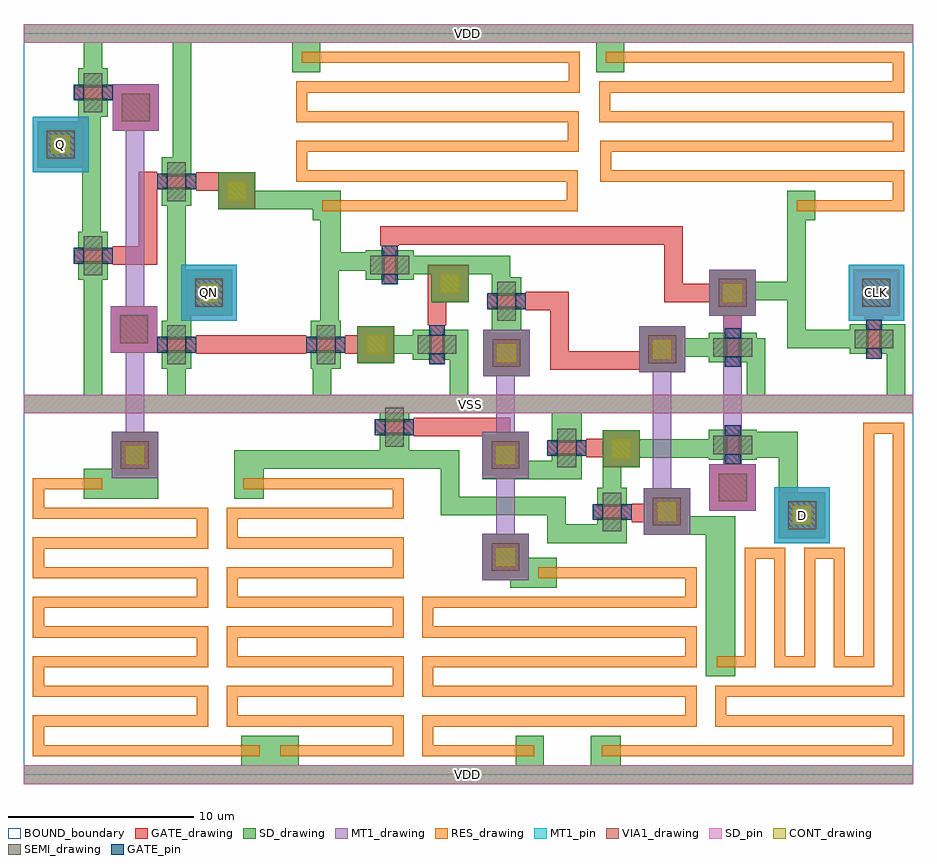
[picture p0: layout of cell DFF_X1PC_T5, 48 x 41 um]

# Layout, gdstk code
from math import pi, radians
import gdstk
lib = gdstk.Library(unit=1e-6, precision=1e-09)
def R(c, l, rs):  # rectangles x0, y0, x1, y1
    for r in rs: c.add(gdstk.rectangle(r[:2], r[2:], *l))
def A(c, l, x, y, w, h, nx, ny, dx, dy):  # array of equal rectangles
    R(c, l, [(x+i*dx, y+j*dy, x+i*dx+w, y+j*dy+h) for i in range(nx) for j in range(ny)])
def P(c, l, *ps):  # polygons
    for p in ps: c.add(gdstk.Polygon(p, *l))
RES_drawing = (1, 0)
SEMI_drawing = (3, 0)
SD_drawing = (10, 0)
SD_pin = (10, 3)
GATE_drawing = (11, 0)
GATE_pin = (11, 3)
MT1_drawing = (20, 0)
MT1_pin = (20, 3)
CONT_drawing = (30, 0)
VIA1_drawing = (41, 0)
BOUND_boundary = (150, 5)

nch_cdns_772544877790 = lib.new_cell('nch_CDNS_772544877790')
R(nch_cdns_772544877790, SEMI_drawing, [(-1.05,-0.5,1.05,0.5)])
R(nch_cdns_772544877790, SD_drawing, [(-1.3,-0.8,-0.3,0.8), (0.3,-0.8,1.3,0.8)])
R(nch_cdns_772544877790, GATE_drawing, [(-0.425,-1.05,0.425,1.05)])
R(nch_cdns_772544877790, GATE_pin, [(-0.425,-1.05,0.425,-0.5), (-0.425,0.5,0.425,1.05)])

sd_gate_cdns_77254487779 = lib.new_cell('SD_GATE_CDNS_772544877790')
R(sd_gate_cdns_77254487779, SD_drawing, [(-1.25,-1.25,1.25,1.25)])
R(sd_gate_cdns_77254487779, GATE_drawing, [(-1.25,-1.25,1.25,1.25)])
R(sd_gate_cdns_77254487779, CONT_drawing, [(-0.5,-0.5,0.5,0.5)])

gate_mt1_cdns_7725448777 = lib.new_cell('GATE_MT1_CDNS_772544877791')
R(gate_mt1_cdns_7725448777, GATE_drawing, [(-1.25,-1.25,1.25,1.25)])
R(gate_mt1_cdns_7725448777, MT1_drawing, [(-1.5,-1.5,1.5,1.5)])
R(gate_mt1_cdns_7725448777, VIA1_drawing, [(-0.75,-0.75,0.75,0.75)])

c_gate_mt1_cdns_7725448777 = lib.new_cell('GATE_MT1_CDNS_772544877792')
R(c_gate_mt1_cdns_7725448777, GATE_drawing, [(-1.25,-1.25,1.25,1.25)])
R(c_gate_mt1_cdns_7725448777, MT1_drawing, [(-1.25,-1.25,1.25,1.25)])
R(c_gate_mt1_cdns_7725448777, VIA1_drawing, [(-0.75,-0.75,0.75,0.75)])

c_sd_gate_cdns_77254487779 = lib.new_cell('SD_GATE_CDNS_772544877793')
R(c_sd_gate_cdns_77254487779, SD_drawing, [(-1,-1,1,1)])
R(c_sd_gate_cdns_77254487779, GATE_drawing, [(-1,-1,1,1)])
R(c_sd_gate_cdns_77254487779, CONT_drawing, [(-0.5,-0.5,0.5,0.5)])

dff_x1pc_t5 = lib.new_cell('DFF_X1PC_T5')
A(dff_x1pc_t5, SD_drawing, 0, -0.5, 48, 1, 1, 3, 0, 20)
R(dff_x1pc_t5, SD_drawing, [(11.75,0.5,13.35,2.1), (13.35,0.5,14.85,2.1), (26.55,0.5,28.05,2.1), (30.6,0.5,32.2,2.1), (3.25,14.9,7.25,16.5), (11.35,14.9,12.95,16.5), (31.25,15.075,32.25,17.375), (24.75,15.95,30.1,16.95), (31.25,17.1,36.95,18.1), (28.5,18.925,30.1,19.5), (3.25,20.5,4.25,26.7), (7.75,20.5,8.75,21.9), (15.6,20.5,16.6,21.9), (46.55,20.5,47.55,24.3), (25.25,23.9,26.85,24.35), (15.6,29.9,17.1,31.5), (41.2,29.9,42.7,31.5), (8.05,33.3,9.05,39.5), (14.5,37.9,16,39.5), (30.9,37.9,32.4,39.5), (3.25,38.1,4.25,39.5)])
P(dff_x1pc_t5, SD_drawing, [(41.75,15.25),(41.75,18.5),(39.55,18.5),(39.55,17.1),(40.75,17.1),(40.75,15.25)],
  [(32.55,13.5),(29.25,13.5),(29.25,15),(23.5,15),(23.5,17.5),(11.35,17.5),(11.35,16.5),(22.5,16.5),(22.5,14),(28.25,14),(28.25,12.5),(32.55,12.5)],
  [(4.15,35.5),(2.95,35.5),(2.95,35.25),(3.15,35.25),(3.15,29.3),(4.15,29.3)],
  [(44.575,24),(42.2,24),(42.2,26.6),(38.3,26.6),(38.3,25.6),(41.2,25.6),(41.2,23),(44.575,23)],
  [(9.05,24.75),(8.75,24.75),(8.75,30.7),(7.75,30.7),(7.75,24.5),(9.05,24.5)],
  [(38.4,13.95),(35.95,13.95),(35.95,14.35),(34.95,14.35),(34.95,12.95),(36.8,12.95),(36.8,5.3),(38.4,5.3)],
  [(40,23.55),(39.55,23.55),(39.55,22.35),(39,22.35),(39,20.25),(40,20.25)],
  [(18.45,28.2),(17.1,28.2),(17.1,31.5),(12.5,31.5),(12.5,30.5),(16,30.5),(16,24.5),(17,24.5),(17,27.2),(18.45,27.2)],
  [(28.75,11.7),(27.25,11.7),(27.25,12.25),(26,12.25),(26,11.25),(26.25,11.25),(26.25,10.1),(28.75,10.1)])
A(dff_x1pc_t5, SD_pin, 0, -0.5, 48, 1, 1, 3, 0, 20)
P(dff_x1pc_t5, GATE_drawing, [(26.25,19.25),(21.05,19.25),(21.05,18.25),(25.25,18.25),(25.25,17.25),(26.25,17.25)],
  [(4.8,27.5),(7.2,27.5),(7.2,32.525),(6.2,32.525),(6.2,28.5),(4.8,28.5)],
  [(38.75,24.2),(37.75,24.2),(37.75,24.1),(37.875,24.1),(37.875,24.05),(38.625,24.05),(38.625,24.1),(38.75,24.1)],
  [(27.2,25.05),(27.2,26.05),(27.1,26.05),(27.1,25.925),(27.05,25.925),(27.05,25.175),(27.1,25.175),(27.1,25.05)],
  [(32.9,13.625),(32.9,14.625),(32.8,14.625),(32.8,14.55),(32.75,14.55),(32.75,13.8),(32.8,13.8),(32.8,13.625)],
  [(9.4,31.5),(9.4,32.5),(9.3,32.5),(9.3,32.375),(9.25,32.375),(9.25,31.625),(9.3,31.625),(9.3,31.5)],
  [(37.725,16.65),(38.725,16.65),(38.725,16.75),(38.625,16.75),(38.625,16.8),(37.875,16.8),(37.875,16.75),(37.725,16.75)],
  [(20.25,28.65),(19.25,28.65),(19.25,28.55),(19.375,28.55),(19.375,28.5),(20.125,28.5),(20.125,28.55),(20.25,28.55)],
  [(4.9,27.5),(4.9,28.5),(4.8,28.5),(4.8,28.375),(4.75,28.375),(4.75,27.625),(4.8,27.625),(4.8,27.5)],
  [(4.9,36.25),(4.9,37.25),(4.8,37.25),(4.8,37.175),(4.75,37.175),(4.75,36.425),(4.8,36.425),(4.8,36.25)],
  [(46.375,24.65),(45.375,24.65),(45.375,24.55),(45.5,24.55),(45.5,24.5),(46.25,24.5),(46.25,24.55),(46.375,24.55)],
  [(15.15,23.7),(15.15,22.7),(15.25,22.7),(15.25,22.825),(15.3,22.825),(15.3,23.575),(15.25,23.575),(15.25,23.7)],
  [(7.1,32.525),(7.1,31.525),(7.2,31.525),(7.2,31.625),(7.25,31.625),(7.25,32.375),(7.2,32.375),(7.2,32.525)],
  [(7.1,23.7),(7.1,22.775),(7.2,22.775),(7.2,22.825),(7.25,22.825),(7.25,23.575),(7.2,23.575),(7.2,23.7)],
  [(9.4,23.7),(9.4,22.7),(9.3,22.7),(9.3,22.825),(9.25,22.825),(9.25,23.575),(9.3,23.575),(9.3,23.7)],
  [(22.8,24.35),(21.8,24.35),(21.8,24.25),(21.925,24.25),(21.925,24.2),(22.675,24.2),(22.675,24.25),(22.8,24.25)],
  [(30.45,17.125),(30.45,18.125),(30.35,18.125),(30.35,18),(30.3,18),(30.3,17.25),(30.35,17.25),(30.35,17.125)],
  [(21.15,18.25),(21.15,19.25),(21.05,19.25),(21.05,19.125),(21,19.125),(21,18.375),(21.05,18.375),(21.05,18.25)],
  [(17.45,23.7),(17.45,22.7),(17.35,22.7),(17.35,22.825),(17.3,22.825),(17.3,23.575),(17.35,23.575),(17.35,23.7)])
R(dff_x1pc_t5, MT1_drawing, [(40.5,12.5,43.5,15.5), (40.5,12.5,43.5,15.5), (40.5,12.5,43.5,15.5), (40.5,12.5,43.5,15.5), (40.5,12.5,43.5,15.5), (8.5,24.5,11.5,27.5), (8.5,24.5,11.5,27.5), (8.5,24.5,11.5,27.5), (8.5,24.5,11.5,27.5), (8.5,24.5,11.5,27.5), (44.5,24.5,47.5,27.5), (44.5,24.5,47.5,27.5), (44.5,24.5,47.5,27.5), (44.5,24.5,47.5,27.5), (44.5,24.5,47.5,27.5), (0.5,32.5,3.5,35.5), (0.5,32.5,3.5,35.5), (0.5,32.5,3.5,35.5), (0.5,32.5,3.5,35.5), (0.5,32.5,3.5,35.5)])
R(dff_x1pc_t5, MT1_pin, [(40.5,12.5,43.5,15.5), (40.5,12.5,43.5,15.5), (40.5,12.5,43.5,15.5), (40.5,12.5,43.5,15.5), (40.5,12.5,43.5,15.5), (8.5,24.5,11.5,27.5), (8.5,24.5,11.5,27.5), (8.5,24.5,11.5,27.5), (8.5,24.5,11.5,27.5), (8.5,24.5,11.5,27.5), (44.5,24.5,47.5,27.5), (44.5,24.5,47.5,27.5), (44.5,24.5,47.5,27.5), (44.5,24.5,47.5,27.5), (44.5,24.5,47.5,27.5), (0.5,32.5,3.5,35.5), (0.5,32.5,3.5,35.5), (0.5,32.5,3.5,35.5), (0.5,32.5,3.5,35.5), (0.5,32.5,3.5,35.5)])
R(dff_x1pc_t5, BOUND_boundary, [(0,0,48,40)])
dff_x1pc_t5.add(gdstk.FlexPath([(18.8,23.2),(21,23.2)], 1, ends="flush", simple_path=True, layer=10, datatype=0))  # SD_drawing
dff_x1pc_t5.add(gdstk.FlexPath([(36.95,23.05),(35.7,23.05)], 1, ends="flush", simple_path=True, layer=10, datatype=0))  # SD_drawing
dff_x1pc_t5.add(gdstk.FlexPath([(25.75,26.425),(25.75,27.5),(21.05,27.5)], 1, ends="flush", simple_path=True, layer=10, datatype=0))  # SD_drawing
dff_x1pc_t5.add(gdstk.FlexPath([(23.475,24),(23.475,20.5)], 1, ends="flush", simple_path=True, layer=10, datatype=0))  # SD_drawing
dff_x1pc_t5.add(gdstk.FlexPath([(41.7,26.05),(41.7,30.2)], 1, ends="flush", simple_path=True, layer=10, datatype=0))  # SD_drawing
dff_x1pc_t5.add(gdstk.FlexPath([(31.2,1.3),(47.2,1.3),(47.2,2.9),(37.6,2.9),(37.6,4.5),(47.2,4.5),(47.2,18.7),(45.6,18.7),(45.6,6.1),(44,6.1),(44,11.95),(42.4,11.95),(42.4,6.1),(40.8,6.1),(40.8,11.95),(39.2,11.95),(39.2,6.1),(37.4,6.1)], 0.6, ends="flush", simple_path=True, layer=1, datatype=0))  # RES_drawing
dff_x1pc_t5.add(gdstk.FlexPath([(11.85,15.7),(20.2,15.7),(20.2,14.1),(11.25,14.1),(11.25,12.5),(20.2,12.5),(20.2,10.9),(11.25,10.9),(11.25,9.3),(20.2,9.3),(20.2,7.7),(11.25,7.7),(11.25,6.1),(20.2,6.1),(20.2,4.5),(11.25,4.5),(11.25,2.9),(20.2,2.9),(20.2,1.3),(13.85,1.3)], 0.6, ends="flush", simple_path=True, layer=1, datatype=0))  # RES_drawing
dff_x1pc_t5.add(gdstk.FlexPath([(16,38.7),(29.7,38.7),(29.7,37.1),(15,37.1),(15,35.5),(29.65,35.5),(29.65,33.9),(15,33.9),(15,32.3),(29.6,32.3),(29.6,30.7),(17.1,30.7)], 0.6, ends=(1, 1), simple_path=True, layer=1, datatype=0))  # RES_drawing
dff_x1pc_t5.add(gdstk.FlexPath([(32.4,38.7),(47.2,38.7),(47.2,37.1),(31.35,37.1),(31.35,35.5),(47.2,35.5),(47.2,33.9),(31.4,33.9),(31.4,32.3),(47.2,32.3),(47.2,30.7),(41.7,30.7)], 0.6, ends=(1, 0), simple_path=True, layer=1, datatype=0))  # RES_drawing
dff_x1pc_t5.add(gdstk.FlexPath([(28.75,10.9),(36,10.9),(36,9.3),(21.8,9.3),(21.8,7.7),(36,7.7),(36,6.1),(21.8,6.1),(21.8,4.5),(36,4.5),(36,2.9),(21.8,2.9),(21.8,1.3),(26.55,1.3)], 0.6, ends=(1, 1), simple_path=True, layer=1, datatype=0))  # RES_drawing
dff_x1pc_t5.add(gdstk.FlexPath([(12.75,1.3),(0.8,1.3),(0.8,2.9),(9.65,2.9),(9.65,4.5),(0.8,4.5),(0.8,6.1),(9.65,6.1),(9.65,7.7),(0.8,7.7),(0.8,9.3),(9.65,9.3),(9.65,10.9),(0.8,10.9),(0.8,12.5),(9.65,12.5),(9.65,14.1),(0.8,14.1),(0.8,15.7),(4.25,15.7)], 0.6, ends="flush", simple_path=True, layer=1, datatype=0))  # RES_drawing
dff_x1pc_t5.add(gdstk.FlexPath([(18.8,23.2),(17.35,23.2)], 1, ends="flush", simple_path=True, layer=11, datatype=0))  # GATE_drawing
dff_x1pc_t5.add(gdstk.FlexPath([(22.3,24.25),(22.3,27.5)], 1, ends="flush", simple_path=True, layer=11, datatype=0))  # GATE_drawing
dff_x1pc_t5.add(gdstk.FlexPath([(27.1,25.55),(28.9,25.55)], 1, ends=(0, 0.5), simple_path=True, layer=11, datatype=0))  # GATE_drawing
dff_x1pc_t5.add(gdstk.FlexPath([(28.9,22.35),(33.2,22.35)], 1, ends=(0.5, 0), simple_path=True, layer=11, datatype=0))  # GATE_drawing
dff_x1pc_t5.add(gdstk.FlexPath([(28.9,25.55),(28.9,22.35)], 1, ends="extended", simple_path=True, layer=11, datatype=0))  # GATE_drawing
dff_x1pc_t5.add(gdstk.FlexPath([(19.8,29.1),(35.05,29.1),(35.05,26),(38.25,26),(38.25,24.1)], 1, ends="flush", simple_path=True, layer=11, datatype=0))  # GATE_drawing
dff_x1pc_t5.add(gdstk.FlexPath([(19.75,29.1),(19.8,29.1)], 1, ends=(0.5, 0), simple_path=True, layer=11, datatype=0))  # GATE_drawing
dff_x1pc_t5.add(gdstk.FlexPath([(9.3,32),(10.5,32)], 1, ends="flush", simple_path=True, layer=11, datatype=0))  # GATE_drawing
dff_x1pc_t5.add(gdstk.FlexPath([(45.875,24.55),(45.875,24.75)], 1, ends="flush", simple_path=True, layer=11, datatype=0))  # GATE_drawing
dff_x1pc_t5.add(gdstk.FlexPath([(30.35,17.625),(31.25,17.625)], 1, ends="flush", simple_path=True, layer=11, datatype=0))  # GATE_drawing
dff_x1pc_t5.add(gdstk.FlexPath([(9.3,23.2),(15.25,23.2)], 1, ends="flush", simple_path=True, layer=11, datatype=0))  # GATE_drawing
dff_x1pc_t5.add(gdstk.FlexPath([(32.8,14.125),(33.5,14.125)], 1, ends="flush", simple_path=True, layer=11, datatype=0))  # GATE_drawing
dff_x1pc_t5.add(gdstk.FlexPath([(19.75,28.55),(19.75,29.1)], 1, ends=(0, 0.5), simple_path=True, layer=11, datatype=0))  # GATE_drawing
dff_x1pc_t5.add(gdstk.FlexPath([(38.25,26),(38.25,15.35)], 1, ends="flush", simple_path=True, layer=20, datatype=0))  # MT1_drawing
dff_x1pc_t5.add(gdstk.FlexPath([(34.45,22.95),(34.45,14)], 1, ends="flush", simple_path=True, layer=20, datatype=0))  # MT1_drawing
dff_x1pc_t5.add(gdstk.FlexPath([(26,11.75),(26,11)], 1, ends="flush", simple_path=True, layer=20, datatype=0))  # MT1_drawing
dff_x1pc_t5.add(gdstk.FlexPath([(26,17.25),(26,11.75)], 1, ends="flush", simple_path=True, layer=20, datatype=0))  # MT1_drawing
dff_x1pc_t5.add(gdstk.FlexPath([(26,22.75),(26,17.25)], 1, ends="flush", simple_path=True, layer=20, datatype=0))  # MT1_drawing
dff_x1pc_t5.add(gdstk.FlexPath([(6,36),(6,17.15)], 1, ends="flush", simple_path=True, layer=20, datatype=0))  # MT1_drawing
dff_x1pc_t5.add(gdstk.Reference(nch_cdns_772544877790, (26.05,25.55), rotation=3*pi/2, x_reflection=True))
dff_x1pc_t5.add(gdstk.Reference(nch_cdns_772544877790, (22.3,23.2), rotation=pi))
dff_x1pc_t5.add(gdstk.Reference(nch_cdns_772544877790, (16.3,23.2), rotation=pi/2))
dff_x1pc_t5.add(gdstk.Reference(nch_cdns_772544877790, (8.25,32), rotation=pi/2))
dff_x1pc_t5.add(gdstk.Reference(nch_cdns_772544877790, (8.25,23.2), rotation=pi/2))
dff_x1pc_t5.add(gdstk.Reference(nch_cdns_772544877790, (3.75,36.8), rotation=pi/2))
dff_x1pc_t5.add(gdstk.Reference(nch_cdns_772544877790, (3.75,28), rotation=pi/2))
dff_x1pc_t5.add(gdstk.Reference(nch_cdns_772544877790, (38.25,17.8)))
dff_x1pc_t5.add(gdstk.Reference(nch_cdns_772544877790, (20,18.75), rotation=3*pi/2))
dff_x1pc_t5.add(gdstk.Reference(nch_cdns_772544877790, (38.25,23.05), rotation=pi))
dff_x1pc_t5.add(gdstk.Reference(nch_cdns_772544877790, (19.75,27.5)))
dff_x1pc_t5.add(gdstk.Reference(nch_cdns_772544877790, (31.75,14.175), rotation=pi/2))
dff_x1pc_t5.add(gdstk.Reference(nch_cdns_772544877790, (45.875,23.5), rotation=pi, x_reflection=True))
dff_x1pc_t5.add(gdstk.Reference(nch_cdns_772544877790, (29.3,17.625), rotation=3*pi/2))
dff_x1pc_t5.add(gdstk.Reference(sd_gate_cdns_77254487779, (34.45,22.95)))
dff_x1pc_t5.add(gdstk.Reference(sd_gate_cdns_77254487779, (26.05,22.75)))
dff_x1pc_t5.add(gdstk.Reference(sd_gate_cdns_77254487779, (2,34)))
dff_x1pc_t5.add(gdstk.Reference(sd_gate_cdns_77254487779, (10,26)))
dff_x1pc_t5.add(gdstk.Reference(sd_gate_cdns_77254487779, (42,14)))
dff_x1pc_t5.add(gdstk.Reference(sd_gate_cdns_77254487779, (34.7,14.2)))
dff_x1pc_t5.add(gdstk.Reference(sd_gate_cdns_77254487779, (26,11.75)))
dff_x1pc_t5.add(gdstk.Reference(sd_gate_cdns_77254487779, (26,17.25)))
dff_x1pc_t5.add(gdstk.Reference(sd_gate_cdns_77254487779, (6,17.25)))
dff_x1pc_t5.add(gdstk.Reference(sd_gate_cdns_77254487779, (42,14)))
dff_x1pc_t5.add(gdstk.Reference(sd_gate_cdns_77254487779, (38.25,26)))
dff_x1pc_t5.add(gdstk.Reference(sd_gate_cdns_77254487779, (34.7,14.2)))
dff_x1pc_t5.add(gdstk.Reference(sd_gate_cdns_77254487779, (34.45,22.95)))
dff_x1pc_t5.add(gdstk.Reference(sd_gate_cdns_77254487779, (26.05,22.75)))
dff_x1pc_t5.add(gdstk.Reference(sd_gate_cdns_77254487779, (26,11.75)))
dff_x1pc_t5.add(gdstk.Reference(sd_gate_cdns_77254487779, (26,17.25)))
dff_x1pc_t5.add(gdstk.Reference(sd_gate_cdns_77254487779, (10,26)))
dff_x1pc_t5.add(gdstk.Reference(sd_gate_cdns_77254487779, (6,17.25)))
dff_x1pc_t5.add(gdstk.Reference(sd_gate_cdns_77254487779, (2,34)))
dff_x1pc_t5.add(gdstk.Reference(sd_gate_cdns_77254487779, (42,14)))
dff_x1pc_t5.add(gdstk.Reference(sd_gate_cdns_77254487779, (38.25,26)))
dff_x1pc_t5.add(gdstk.Reference(sd_gate_cdns_77254487779, (34.7,14.2)))
dff_x1pc_t5.add(gdstk.Reference(sd_gate_cdns_77254487779, (34.45,22.95)))
dff_x1pc_t5.add(gdstk.Reference(sd_gate_cdns_77254487779, (26.05,22.75)))
dff_x1pc_t5.add(gdstk.Reference(sd_gate_cdns_77254487779, (26,11.75)))
dff_x1pc_t5.add(gdstk.Reference(sd_gate_cdns_77254487779, (26,17.25)))
dff_x1pc_t5.add(gdstk.Reference(sd_gate_cdns_77254487779, (10,26)))
dff_x1pc_t5.add(gdstk.Reference(sd_gate_cdns_77254487779, (6,17.25)))
dff_x1pc_t5.add(gdstk.Reference(sd_gate_cdns_77254487779, (2,34)))
dff_x1pc_t5.add(gdstk.Reference(sd_gate_cdns_77254487779, (42,14)))
dff_x1pc_t5.add(gdstk.Reference(sd_gate_cdns_77254487779, (38.25,26)))
dff_x1pc_t5.add(gdstk.Reference(sd_gate_cdns_77254487779, (34.7,14.2)))
dff_x1pc_t5.add(gdstk.Reference(sd_gate_cdns_77254487779, (34.45,22.95)))
dff_x1pc_t5.add(gdstk.Reference(sd_gate_cdns_77254487779, (26.05,22.75)))
dff_x1pc_t5.add(gdstk.Reference(sd_gate_cdns_77254487779, (26,11.75)))
dff_x1pc_t5.add(gdstk.Reference(sd_gate_cdns_77254487779, (26,17.25)))
dff_x1pc_t5.add(gdstk.Reference(sd_gate_cdns_77254487779, (10,26)))
dff_x1pc_t5.add(gdstk.Reference(sd_gate_cdns_77254487779, (6,17.25)))
dff_x1pc_t5.add(gdstk.Reference(sd_gate_cdns_77254487779, (26.05,22.75)))
dff_x1pc_t5.add(gdstk.Reference(sd_gate_cdns_77254487779, (2,34)))
dff_x1pc_t5.add(gdstk.Reference(sd_gate_cdns_77254487779, (38.25,26)))
dff_x1pc_t5.add(gdstk.Reference(sd_gate_cdns_77254487779, (26,11.75)))
dff_x1pc_t5.add(gdstk.Reference(sd_gate_cdns_77254487779, (42,14)))
dff_x1pc_t5.add(gdstk.Reference(sd_gate_cdns_77254487779, (34.45,22.95)))
dff_x1pc_t5.add(gdstk.Reference(sd_gate_cdns_77254487779, (34.7,14.2)))
dff_x1pc_t5.add(gdstk.Reference(sd_gate_cdns_77254487779, (26,17.25)))
dff_x1pc_t5.add(gdstk.Reference(sd_gate_cdns_77254487779, (6,17.25)))
dff_x1pc_t5.add(gdstk.Reference(sd_gate_cdns_77254487779, (10,26)))
dff_x1pc_t5.add(gdstk.Reference(sd_gate_cdns_77254487779, (2,34)))
dff_x1pc_t5.add(gdstk.Reference(gate_mt1_cdns_7725448777, (2,34)))
dff_x1pc_t5.add(gdstk.Reference(gate_mt1_cdns_7725448777, (10,26)))
dff_x1pc_t5.add(gdstk.Reference(gate_mt1_cdns_7725448777, (42,14)))
dff_x1pc_t5.add(gdstk.Reference(gate_mt1_cdns_7725448777, (46,26)))
dff_x1pc_t5.add(gdstk.Reference(gate_mt1_cdns_7725448777, (46,26)))
dff_x1pc_t5.add(gdstk.Reference(gate_mt1_cdns_7725448777, (42,14)))
dff_x1pc_t5.add(gdstk.Reference(gate_mt1_cdns_7725448777, (10,26)))
dff_x1pc_t5.add(gdstk.Reference(gate_mt1_cdns_7725448777, (2,34)))
dff_x1pc_t5.add(gdstk.Reference(gate_mt1_cdns_7725448777, (46,26)))
dff_x1pc_t5.add(gdstk.Reference(gate_mt1_cdns_7725448777, (42,14)))
dff_x1pc_t5.add(gdstk.Reference(gate_mt1_cdns_7725448777, (10,26)))
dff_x1pc_t5.add(gdstk.Reference(gate_mt1_cdns_7725448777, (2,34)))
dff_x1pc_t5.add(gdstk.Reference(gate_mt1_cdns_7725448777, (46,26)))
dff_x1pc_t5.add(gdstk.Reference(gate_mt1_cdns_7725448777, (42,14)))
dff_x1pc_t5.add(gdstk.Reference(gate_mt1_cdns_7725448777, (10,26)))
dff_x1pc_t5.add(gdstk.Reference(gate_mt1_cdns_7725448777, (2,34)))
dff_x1pc_t5.add(gdstk.Reference(gate_mt1_cdns_7725448777, (2,34)))
dff_x1pc_t5.add(gdstk.Reference(gate_mt1_cdns_7725448777, (46,26)))
dff_x1pc_t5.add(gdstk.Reference(gate_mt1_cdns_7725448777, (42,14)))
dff_x1pc_t5.add(gdstk.Reference(gate_mt1_cdns_7725448777, (10,26)))
dff_x1pc_t5.add(gdstk.Reference(c_gate_mt1_cdns_7725448777, (34.45,22.95)))
dff_x1pc_t5.add(gdstk.Reference(c_gate_mt1_cdns_7725448777, (26.05,22.75)))
dff_x1pc_t5.add(gdstk.Reference(c_gate_mt1_cdns_7725448777, (6.05,36)))
dff_x1pc_t5.add(gdstk.Reference(c_gate_mt1_cdns_7725448777, (5.95,24.025)))
dff_x1pc_t5.add(gdstk.Reference(c_gate_mt1_cdns_7725448777, (38.25,15.5)))
dff_x1pc_t5.add(gdstk.Reference(c_gate_mt1_cdns_7725448777, (34.7,14.2)))
dff_x1pc_t5.add(gdstk.Reference(c_gate_mt1_cdns_7725448777, (26,11.75)))
dff_x1pc_t5.add(gdstk.Reference(c_gate_mt1_cdns_7725448777, (26,17.25)))
dff_x1pc_t5.add(gdstk.Reference(c_gate_mt1_cdns_7725448777, (6,17.25)))
dff_x1pc_t5.add(gdstk.Reference(c_gate_mt1_cdns_7725448777, (38.25,15.5)))
dff_x1pc_t5.add(gdstk.Reference(c_gate_mt1_cdns_7725448777, (6.05,36)))
dff_x1pc_t5.add(gdstk.Reference(c_gate_mt1_cdns_7725448777, (5.95,24.025)))
dff_x1pc_t5.add(gdstk.Reference(c_gate_mt1_cdns_7725448777, (38.25,26)))
dff_x1pc_t5.add(gdstk.Reference(c_gate_mt1_cdns_7725448777, (34.7,14.2)))
dff_x1pc_t5.add(gdstk.Reference(c_gate_mt1_cdns_7725448777, (34.45,22.95)))
dff_x1pc_t5.add(gdstk.Reference(c_gate_mt1_cdns_7725448777, (26.05,22.75)))
dff_x1pc_t5.add(gdstk.Reference(c_gate_mt1_cdns_7725448777, (26,11.75)))
dff_x1pc_t5.add(gdstk.Reference(c_gate_mt1_cdns_7725448777, (26,17.25)))
dff_x1pc_t5.add(gdstk.Reference(c_gate_mt1_cdns_7725448777, (6,17.25)))
dff_x1pc_t5.add(gdstk.Reference(c_gate_mt1_cdns_7725448777, (38.25,15.5)))
dff_x1pc_t5.add(gdstk.Reference(c_gate_mt1_cdns_7725448777, (6.05,36)))
dff_x1pc_t5.add(gdstk.Reference(c_gate_mt1_cdns_7725448777, (5.95,24.025)))
dff_x1pc_t5.add(gdstk.Reference(c_gate_mt1_cdns_7725448777, (38.25,26)))
dff_x1pc_t5.add(gdstk.Reference(c_gate_mt1_cdns_7725448777, (34.7,14.2)))
dff_x1pc_t5.add(gdstk.Reference(c_gate_mt1_cdns_7725448777, (34.45,22.95)))
dff_x1pc_t5.add(gdstk.Reference(c_gate_mt1_cdns_7725448777, (26.05,22.75)))
dff_x1pc_t5.add(gdstk.Reference(c_gate_mt1_cdns_7725448777, (26,11.75)))
dff_x1pc_t5.add(gdstk.Reference(c_gate_mt1_cdns_7725448777, (26,17.25)))
dff_x1pc_t5.add(gdstk.Reference(c_gate_mt1_cdns_7725448777, (6,17.25)))
dff_x1pc_t5.add(gdstk.Reference(c_gate_mt1_cdns_7725448777, (38.25,15.5)))
dff_x1pc_t5.add(gdstk.Reference(c_gate_mt1_cdns_7725448777, (6.05,36)))
dff_x1pc_t5.add(gdstk.Reference(c_gate_mt1_cdns_7725448777, (5.95,24.025)))
dff_x1pc_t5.add(gdstk.Reference(c_gate_mt1_cdns_7725448777, (38.25,26)))
dff_x1pc_t5.add(gdstk.Reference(c_gate_mt1_cdns_7725448777, (34.7,14.2)))
dff_x1pc_t5.add(gdstk.Reference(c_gate_mt1_cdns_7725448777, (34.45,22.95)))
dff_x1pc_t5.add(gdstk.Reference(c_gate_mt1_cdns_7725448777, (26.05,22.75)))
dff_x1pc_t5.add(gdstk.Reference(c_gate_mt1_cdns_7725448777, (26,11.75)))
dff_x1pc_t5.add(gdstk.Reference(c_gate_mt1_cdns_7725448777, (26,17.25)))
dff_x1pc_t5.add(gdstk.Reference(c_gate_mt1_cdns_7725448777, (6,17.25)))
dff_x1pc_t5.add(gdstk.Reference(c_gate_mt1_cdns_7725448777, (6,17.25)))
dff_x1pc_t5.add(gdstk.Reference(c_gate_mt1_cdns_7725448777, (5.95,24.025)))
dff_x1pc_t5.add(gdstk.Reference(c_gate_mt1_cdns_7725448777, (6.05,36)))
dff_x1pc_t5.add(gdstk.Reference(c_gate_mt1_cdns_7725448777, (38.25,15.5)))
dff_x1pc_t5.add(gdstk.Reference(c_gate_mt1_cdns_7725448777, (26,11.75)))
dff_x1pc_t5.add(gdstk.Reference(c_gate_mt1_cdns_7725448777, (34.45,22.95)))
dff_x1pc_t5.add(gdstk.Reference(c_gate_mt1_cdns_7725448777, (26,17.25)))
dff_x1pc_t5.add(gdstk.Reference(c_gate_mt1_cdns_7725448777, (26.05,22.75)))
dff_x1pc_t5.add(gdstk.Reference(c_gate_mt1_cdns_7725448777, (34.7,14.2)))
dff_x1pc_t5.add(gdstk.Reference(c_gate_mt1_cdns_7725448777, (38.25,26)))
dff_x1pc_t5.add(gdstk.Reference(c_sd_gate_cdns_77254487779, (23,26.5)))
dff_x1pc_t5.add(gdstk.Reference(c_sd_gate_cdns_77254487779, (19,23.2)))
dff_x1pc_t5.add(gdstk.Reference(c_sd_gate_cdns_77254487779, (11.5,31.5)))
dff_x1pc_t5.add(gdstk.Reference(c_sd_gate_cdns_77254487779, (32.25,17.575)))
dff_x1pc_t5.add(gdstk.Reference(c_sd_gate_cdns_77254487779, (32.25,17.575)))
dff_x1pc_t5.add(gdstk.Reference(c_sd_gate_cdns_77254487779, (23,26.5)))
dff_x1pc_t5.add(gdstk.Reference(c_sd_gate_cdns_77254487779, (19,23.2)))
dff_x1pc_t5.add(gdstk.Reference(c_sd_gate_cdns_77254487779, (11.5,31.5)))
dff_x1pc_t5.add(gdstk.Reference(c_sd_gate_cdns_77254487779, (32.25,17.575)))
dff_x1pc_t5.add(gdstk.Reference(c_sd_gate_cdns_77254487779, (23,26.5)))
dff_x1pc_t5.add(gdstk.Reference(c_sd_gate_cdns_77254487779, (19,23.2)))
dff_x1pc_t5.add(gdstk.Reference(c_sd_gate_cdns_77254487779, (11.5,31.5)))
dff_x1pc_t5.add(gdstk.Reference(c_sd_gate_cdns_77254487779, (32.25,17.575)))
dff_x1pc_t5.add(gdstk.Reference(c_sd_gate_cdns_77254487779, (23,26.5)))
dff_x1pc_t5.add(gdstk.Reference(c_sd_gate_cdns_77254487779, (19,23.2)))
dff_x1pc_t5.add(gdstk.Reference(c_sd_gate_cdns_77254487779, (11.5,31.5)))
dff_x1pc_t5.add(gdstk.Reference(c_sd_gate_cdns_77254487779, (11.5,31.5)))
dff_x1pc_t5.add(gdstk.Reference(c_sd_gate_cdns_77254487779, (23,26.5)))
dff_x1pc_t5.add(gdstk.Reference(c_sd_gate_cdns_77254487779, (19,23.2)))
dff_x1pc_t5.add(gdstk.Reference(c_sd_gate_cdns_77254487779, (32.25,17.575)))
dff_x1pc_t5.add(gdstk.Label('VDD', (23.95,0), layer=10, texttype=3))
dff_x1pc_t5.add(gdstk.Label('VSS', (24.1,19.95), layer=10, texttype=3))
dff_x1pc_t5.add(gdstk.Label('VDD', (23.95,40), layer=10, texttype=3))
dff_x1pc_t5.add(gdstk.Label('QN', (10,26), layer=20, texttype=3))
dff_x1pc_t5.add(gdstk.Label('QN', (10,26), layer=20, texttype=3))
dff_x1pc_t5.add(gdstk.Label('Q', (2,34), layer=20, texttype=3))
dff_x1pc_t5.add(gdstk.Label('CLK', (46,26), layer=20, texttype=3))
dff_x1pc_t5.add(gdstk.Label('D', (42,14), layer=20, texttype=3))
dff_x1pc_t5.add(gdstk.Label('CLK', (46,26), layer=20, texttype=3))
dff_x1pc_t5.add(gdstk.Label('CLK', (46,26), layer=20, texttype=3))
dff_x1pc_t5.add(gdstk.Label('D', (42,14), layer=20, texttype=3))
dff_x1pc_t5.add(gdstk.Label('QN', (10,26), layer=20, texttype=3))
dff_x1pc_t5.add(gdstk.Label('Q', (2,34), layer=20, texttype=3))
dff_x1pc_t5.add(gdstk.Label('Q', (2,34), layer=20, texttype=3))
dff_x1pc_t5.add(gdstk.Label('Q', (2,34), layer=20, texttype=3))
dff_x1pc_t5.add(gdstk.Label('QN', (10,26), layer=20, texttype=3))
dff_x1pc_t5.add(gdstk.Label('D', (42,14), layer=20, texttype=3))
dff_x1pc_t5.add(gdstk.Label('D', (42,14), layer=20, texttype=3))
dff_x1pc_t5.add(gdstk.Label('D', (42,14), layer=20, texttype=3))
dff_x1pc_t5.add(gdstk.Label('Q', (2,34), layer=20, texttype=3))
dff_x1pc_t5.add(gdstk.Label('CLK', (46,26), layer=20, texttype=3))
dff_x1pc_t5.add(gdstk.Label('QN', (10,26), layer=20, texttype=3))
dff_x1pc_t5.add(gdstk.Label('CLK', (46,26), layer=20, texttype=3))

lib.write_gds('DFF_X1PC_T5.gds')
